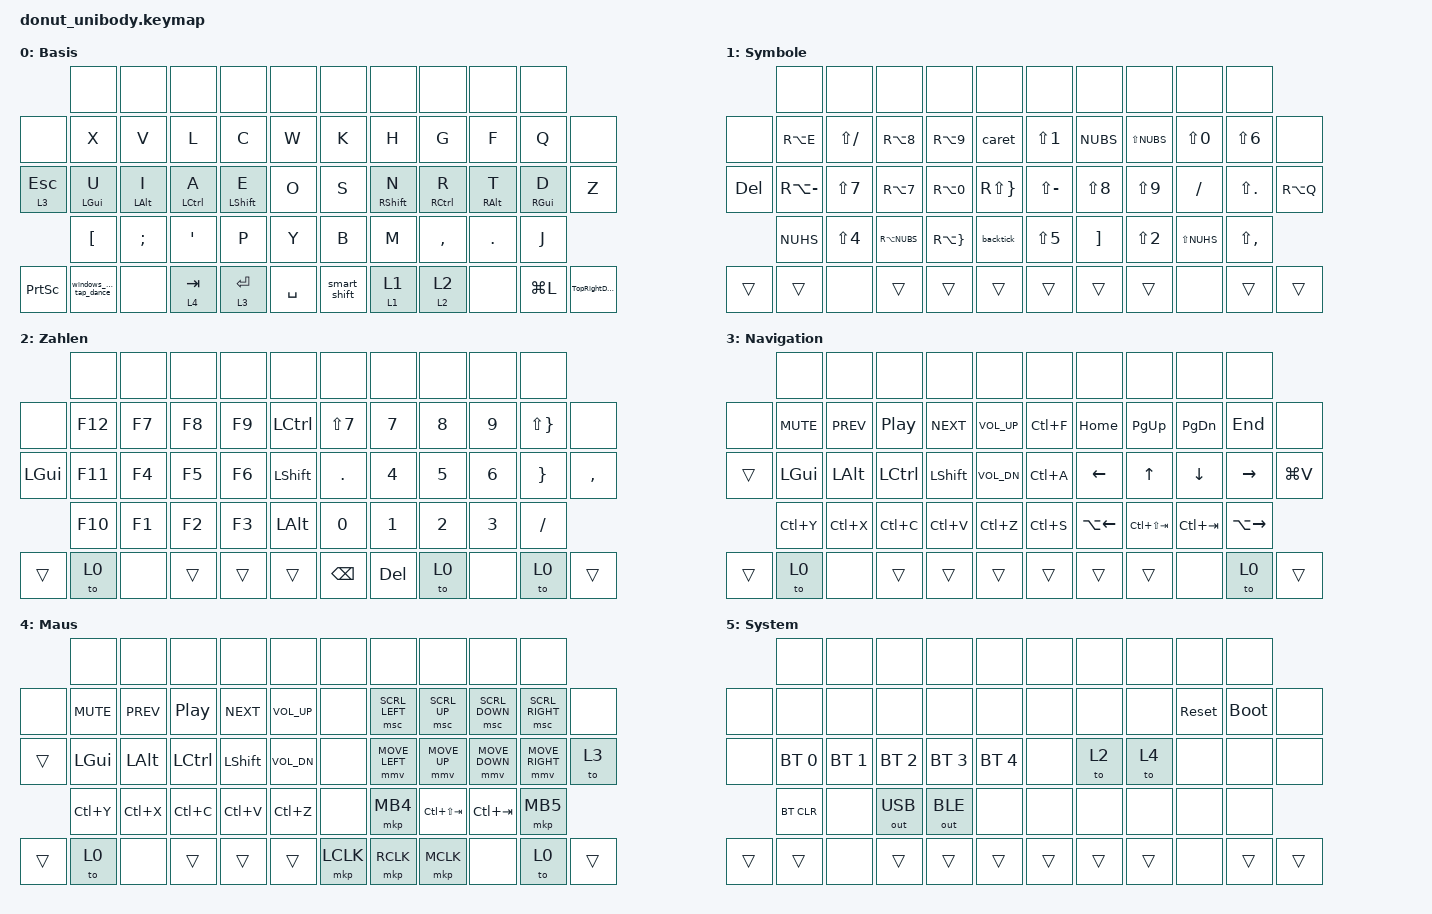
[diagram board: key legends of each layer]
#include <behaviors.dtsi>
#include <dt-bindings/zmk/bt.h>
#include <dt-bindings/zmk/keys.h>
#include <dt-bindings/zmk/outputs.h>

// Muss laut ZMK-Doku VOR dem Include von pointing.h stehen
#define ZMK_POINTING_DEFAULT_MOVE_VAL 1500  // default: 600
#define ZMK_POINTING_DEFAULT_SCRL_VAL 20    // default: 10
#include <dt-bindings/zmk/pointing.h>

// ---------------------------------------------------------------
// Ebenen
//   0 Basis
//   1 Symbole        rechter mittlerer Daumen: halten = Ebene, tippen = nächste Taste aus Symbolen
//   2 Zahlen + F     rechter äußerer Daumen:   halten = Ebene, tippen = sperren (nochmal tippen = zurück)
//   3 Navigation     linker mittlerer Daumen:  halten (tippen = Enter), alternativ ESC-Pinky halten
//   4 Maus           linker äußerer Daumen:    halten (tippen = Tab)
//   5 System / BT    Enter + Symbole gleichzeitig halten
//
// Rechter innerer Daumen = Shift: tippen = Sticky-Shift, halten = Shift, 2x tippen = Caps Word
//
// Deutsches OS-Layout: Strg+Z (Rückgängig) = LC(Y), Strg+Y (Wiederholen) = LC(Z)
// ---------------------------------------------------------------

// Tastenpositionen
#define KEYS_L   0 1 2 3 4 10 11 12 13 14 15 22 23 24 25 26 27 34 35 36 37 38
#define KEYS_R   5 6 7 8 9 16 17 18 19 20 21 28 29 30 31 32 33 39 40 41 42 43
#define THUMBS_L 44 45 46 47 48 49
#define THUMBS_R 50 51 52 53 54 55

// Timing
#define HRM_TAPPING_TERM 280
#define HRM_QUICK_TAP    175
#define HRM_PRIOR_IDLE   150
#define COMBO_PRIOR_IDLE 150

// Caps Word: Unterstrich (deutsches Layout = Shift + "-"-Taste) beendet es nicht
&caps_word {
    continue-list = <LS(SLASH) BACKSPACE DELETE>;
};

// Sticky-Shift löst beim nächsten Tastendruck aus, nicht erst beim Loslassen (verhindert "DEr")
&sk {
    quick-release;
};

// Maus: schnelles Ansprechen. Für mehr Präzision time-to-max-speed-ms erhöhen,
// für mehr Tempo ZMK_POINTING_DEFAULT_MOVE_VAL oben erhöhen
&mmv {
    time-to-max-speed-ms = <250>;
    acceleration-exponent = <1>;
};

/ {
    macros {
        // Tottasten des deutschen Layouts direkt ausgeben (Tottaste + Leerzeichen)
        caret: caret {
            compatible = "zmk,behavior-macro";
            #binding-cells = <0>;
            bindings = <&kp GRAVE &kp SPACE>;
        };

        backtick: backtick {
            compatible = "zmk,behavior-macro";
            #binding-cells = <0>;
            bindings = <&kp LS(EQUAL) &kp SPACE>;
        };
    };

    conditional_layers {
        compatible = "zmk,conditional-layers";

        // Symbole (1) + Navigation (3) -> System (5)
        system_layer {
            if-layers = <1 3>;
            then-layer = <5>;
        };
    };

    combos {
        compatible = "zmk,combos";

        // Space + Shift + Symbole (alle drei inneren Daumen)
        boot {
            bindings = <&bootloader>;
            key-positions = <49 50 51>;
        };

        BT0 {
            bindings = <&bt BT_SEL 0>;
            key-positions = <2 3>;
        };

        Backspace {
            bindings = <&kp BACKSPACE>;
            key-positions = <35 36>;
            layers = <0>;
        };

        Entf {
            bindings = <&kp DELETE>;
            key-positions = <12 13>;
            layers = <0>;
            require-prior-idle-ms = <COMBO_PRIOR_IDLE>;
        };

        sz_combi {
            bindings = <&kp MINUS>;
            key-positions = <19 20>;
            layers = <0>;
        };

        EnterCombi {
            bindings = <&kp ENTER>;
            key-positions = <41 42>;
            layers = <0>;
        };

        copy {
            bindings = <&kp LC(C)>;
            key-positions = <14 15>;
            layers = <0>;
            require-prior-idle-ms = <COMBO_PRIOR_IDLE>;
        };

        paste {
            bindings = <&kp LC(V)>;
            key-positions = <26 27>;
            layers = <0>;
            require-prior-idle-ms = <COMBO_PRIOR_IDLE>;
        };

        cut {
            bindings = <&kp LC(X)>;
            key-positions = <37 38>;
            layers = <0>;
            require-prior-idle-ms = <COMBO_PRIOR_IDLE>;
        };
    };

    behaviors {
        hml: hml {
            compatible = "zmk,behavior-hold-tap";
            #binding-cells = <2>;
            bindings = <&kp>, <&kp>;
            flavor = "balanced";
            tapping-term-ms = <HRM_TAPPING_TERM>;
            quick-tap-ms = <HRM_QUICK_TAP>;
            require-prior-idle-ms = <HRM_PRIOR_IDLE>;
            hold-trigger-on-release;
            hold-trigger-key-positions = <KEYS_R THUMBS_L THUMBS_R>;
        };

        hmr: hmr {
            compatible = "zmk,behavior-hold-tap";
            #binding-cells = <2>;
            bindings = <&kp>, <&kp>;
            flavor = "balanced";
            tapping-term-ms = <HRM_TAPPING_TERM>;
            quick-tap-ms = <HRM_QUICK_TAP>;
            require-prior-idle-ms = <HRM_PRIOR_IDLE>;
            hold-trigger-on-release;
            hold-trigger-key-positions = <KEYS_L THUMBS_L THUMBS_R>;
        };

        // ESC-Pinky: Halten = Navigation (nur für Pfeile mit der rechten Hand)
        hml_mo_lay: hml_mo_lay {
            compatible = "zmk,behavior-hold-tap";
            #binding-cells = <2>;
            bindings = <&mo>, <&kp>;
            flavor = "balanced";
            tapping-term-ms = <HRM_TAPPING_TERM>;
            quick-tap-ms = <HRM_QUICK_TAP>;
            require-prior-idle-ms = <HRM_PRIOR_IDLE>;
            hold-trigger-on-release;
            hold-trigger-key-positions = <KEYS_R THUMBS_R>;
        };

        // Halten = Ebene, Tippen = Taste (Tab, Enter)
        Tap_Layer: Tap_Layer {
            compatible = "zmk,behavior-hold-tap";
            #binding-cells = <2>;
            bindings = <&mo>, <&kp>;
            flavor = "balanced";
            tapping-term-ms = <200>;
            quick-tap-ms = <150>;
        };

        // Maus-Ebene auf Tab: schaltet sofort um, sobald eine rechte Taste gedrückt wird
        // (nicht erst nach Loslassen oder 200 ms). Linke Tasten direkt nach Tab bleiben normales Tippen.
        lt_mouse: lt_mouse {
            compatible = "zmk,behavior-hold-tap";
            #binding-cells = <2>;
            bindings = <&mo>, <&kp>;
            flavor = "hold-preferred";
            tapping-term-ms = <200>;
            quick-tap-ms = <150>;
            hold-trigger-key-positions = <KEYS_R THUMBS_R>;
        };

        // Halten = Ebene, Tippen = nur die nächste Taste aus der Ebene (Aufruf: &lt_sl 1 1)
        lt_sl: lt_sl {
            compatible = "zmk,behavior-hold-tap";
            #binding-cells = <2>;
            bindings = <&mo>, <&sl>;
            flavor = "balanced";
            tapping-term-ms = <200>;
        };

        // Halten = Ebene, Tippen = Ebene sperren (Aufruf: &lt_lock 2 2)
        lt_lock: lt_lock {
            compatible = "zmk,behavior-hold-tap";
            #binding-cells = <2>;
            bindings = <&mo>, <&to>;
            flavor = "balanced";
            tapping-term-ms = <200>;
        };

        // Daumen-Shift: tippen = Sticky-Shift, halten = Shift,
        // tippen während Shift aktiv (also 2x tippen) = Caps Word. Ohne Tap-Dance-Verzögerung.
        smart_shift: smart_shift {
            compatible = "zmk,behavior-mod-morph";
            #binding-cells = <0>;
            bindings = <&sk LSHIFT>, <&caps_word>;
            mods = <(MOD_LSFT|MOD_RSFT)>;
        };

        TopRightDance: TopRightDance {
            compatible = "zmk,behavior-tap-dance";
            #binding-cells = <0>;
            bindings = <&bt BT_SEL 0>, <&bt BT_SEL 1>;
        };

        // 1x: Desktop rechts, 2x: Desktop links
        windows_desktop_tap_dance: windows_desktop_tap_dance {
            compatible = "zmk,behavior-tap-dance";
            #binding-cells = <0>;
            bindings = <&kp LG(LC(RIGHT))>, <&kp LG(LC(LEFT))>;
        };
    };

    keymap {
        compatible = "zmk,keymap";

        // ---------------------------------------------------------- 0
        default_layer {
            display-name = "Basis";
            bindings = <
                   &none                       &none            &none                &none               &none      &none            &none                &none                 &none             &none
&none              &kp X                       &kp V            &kp L                &kp C               &kp W      &kp K            &kp H                &kp G                 &kp F             &kp Q             &none
&hml_mo_lay 3 ESC  &hml LEFT_GUI U             &hml LEFT_ALT I  &hml LEFT_CONTROL A  &hml LEFT_SHIFT E   &kp O      &kp S            &hmr RIGHT_SHIFT N   &hmr RIGHT_CONTROL R  &hmr RIGHT_ALT T  &hmr RIGHT_GUI D  &kp Z
                   &kp LEFT_BRACKET            &kp SEMICOLON    &kp SINGLE_QUOTE     &kp P               &kp Y      &kp B            &kp M                &kp COMMA             &kp PERIOD        &kp J
&kp PRINTSCREEN    &windows_desktop_tap_dance  &none            &lt_mouse 4 TAB      &Tap_Layer 3 ENTER  &kp SPACE  &smart_shift     &lt_sl 1 1           &lt_lock 2 2          &none             &kp LG(L)         &TopRightDance
            >;
        };

        // ---------------------------------------------------------- 1
        symbol_layer {
            display-name = "Symbole";
            bindings = <
            &none              &none          &none         &none         &none          &none             &none              &none         &none         &none
&none       &kp RA(E)          &kp LS(SLASH)  &kp RA(N8)    &kp RA(N9)    &caret         &kp LS(NUMBER_1)  &kp NUBS           &kp LS(NUBS)  &kp LS(N0)    &kp LS(N6)     &none
&kp DELETE  &kp RA(MINUS)      &kp LS(N7)     &kp RA(N7)    &kp RA(N0)    &kp RS(RBRC)   &kp LS(MINUS)     &kp LS(N8)         &kp LS(N9)    &kp SLASH     &kp LS(DOT)    &kp RA(Q)
            &kp NUHS           &kp LS(N4)     &kp RA(NUBS)  &kp RA(RBRC)  &backtick      &kp LS(N5)        &kp RIGHT_BRACKET  &kp LS(N2)    &kp LS(NUHS)  &kp LS(COMMA)
&trans      &trans             &none          &trans        &trans        &trans         &trans            &trans             &trans        &none         &trans         &trans
            >;
        };

        // ---------------------------------------------------------- 2
        // Links: F-Tasten (gespiegelt zum Ziffernblock) + Modifier in der inneren Spalte
        // Rechts: Ziffernblock mit Rechenzeichen
        // Daumen rechts: Backspace, Entf, zurück zur Basis
        number {
            display-name = "Zahlen";
            bindings = <
            &none       &none       &none       &none       &none          &none         &none         &none         &none         &none
&none       &kp F12     &kp F7      &kp F8      &kp F9      &kp LCTRL      &kp LS(N7)    &kp N7        &kp N8        &kp N9        &kp LS(RBRC)  &none
&kp LGUI    &kp F11     &kp F4      &kp F5      &kp F6      &kp LSHIFT     &kp DOT       &kp N4        &kp N5        &kp N6        &kp RBRC      &kp COMMA
            &kp F10     &kp F1      &kp F2      &kp F3      &kp LALT       &kp N0        &kp N1        &kp N2        &kp N3        &kp SLASH
&trans      &to 0       &none       &trans      &trans      &trans         &kp BACKSPACE &kp DELETE    &to 0         &none         &to 0         &trans
            >;
        };

        // ---------------------------------------------------------- 3
        // Links: Media, Modifier, Bearbeiten · Rechts: Pfeile, Pos1/Ende/Bild, Browser-/IDE-Navigation
        nav_layer {
            display-name = "Navigation";
            bindings = <
            &none         &none         &none         &none         &none          &none         &none          &none             &none         &none
&none       &kp C_MUTE    &kp C_PREV    &kp C_PP      &kp C_NEXT    &kp C_VOL_UP   &kp LC(F)     &kp HOME       &kp PG_UP         &kp PG_DN     &kp END       &none
&trans      &kp LGUI      &kp LALT      &kp LCTRL     &kp LSHIFT    &kp C_VOL_DN   &kp LC(A)     &kp LEFT       &kp UP            &kp DOWN      &kp RIGHT     &kp LG(V)
            &kp LC(Y)     &kp LC(X)     &kp LC(C)     &kp LC(V)     &kp LC(Z)      &kp LC(S)     &kp LA(LEFT)   &kp LC(LS(TAB))   &kp LC(TAB)   &kp LA(RIGHT)
&trans      &to 0         &none         &trans        &trans        &trans         &trans        &trans         &trans            &none         &to 0         &trans
            >;
        };

        // ---------------------------------------------------------- 4
        // Gehalten mit dem linken äußeren Daumen.
        // Rechts: Bewegung wie die Pfeile, Scrollen darüber, Zurück/Tabs/Vor darunter, Klicks auf den rechten Daumen
        // Links: wie Navigation (Media, Modifier für Strg-/Shift-Klick, Bearbeiten)
        mouse_layer {
            display-name = "Maus";
            bindings = <
            &none         &none         &none         &none         &none          &none         &none            &none             &none            &none
&none       &kp C_MUTE    &kp C_PREV    &kp C_PP      &kp C_NEXT    &kp C_VOL_UP   &none         &msc SCRL_LEFT   &msc SCRL_UP      &msc SCRL_DOWN   &msc SCRL_RIGHT  &none
&trans      &kp LGUI      &kp LALT      &kp LCTRL     &kp LSHIFT    &kp C_VOL_DN   &none         &mmv MOVE_LEFT   &mmv MOVE_UP      &mmv MOVE_DOWN   &mmv MOVE_RIGHT  &to 3
            &kp LC(Y)     &kp LC(X)     &kp LC(C)     &kp LC(V)     &kp LC(Z)      &none         &mkp MB4         &kp LC(LS(TAB))   &kp LC(TAB)      &mkp MB5
&trans      &to 0         &none         &trans        &trans        &trans         &mkp LCLK     &mkp RCLK        &mkp MCLK         &none            &to 0            &trans
            >;
        };

        // ---------------------------------------------------------- 5
        // Erreichbar über Enter + Symbole gleichzeitig halten
        system_layer {
            display-name = "System";
            bindings = <
            &none          &none          &none          &none          &none          &none   &none   &none   &none        &none
&none       &none          &none          &none          &none          &none          &none   &none   &none   &sys_reset   &bootloader  &none
&none       &bt BT_SEL 0   &bt BT_SEL 1   &bt BT_SEL 2   &bt BT_SEL 3   &bt BT_SEL 4   &none   &to 2   &to 4   &none        &none        &none
            &bt BT_CLR     &none          &out OUT_USB   &out OUT_BLE   &none          &none   &none   &none   &none        &none
&trans      &trans         &none          &trans         &trans         &trans         &trans  &trans  &trans  &none        &trans       &trans
            >;
        };
    };
};
